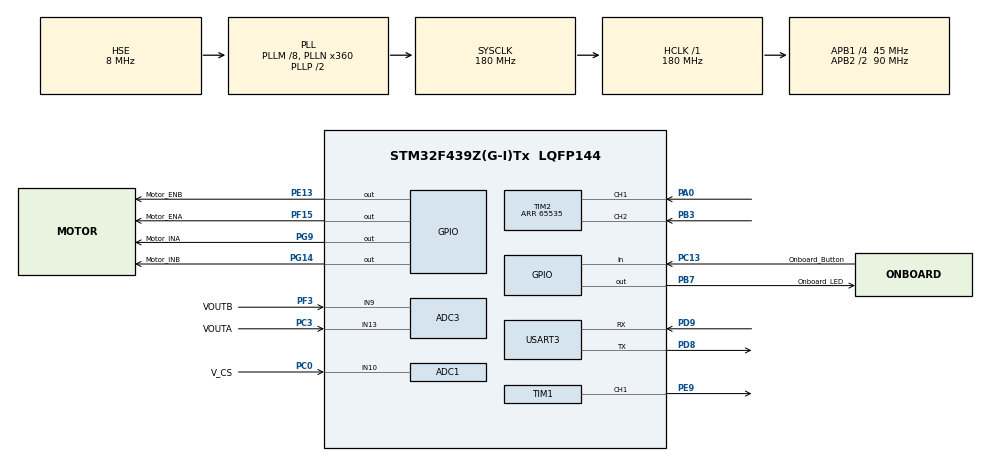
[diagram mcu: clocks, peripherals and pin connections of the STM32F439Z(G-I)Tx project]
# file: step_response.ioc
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ADC1.Channel-2\#ChannelRegularConversion=ADC_CHANNEL_10
ADC1.ContinuousConvMode=ENABLE
ADC1.DMAContinuousRequests=ENABLE
ADC1.ExternalTrigConv=ADC_EXTERNALTRIGCONV_T3_TRGO
ADC1.NbrOfConversion=1
ADC1.NbrOfConversionFlag=1
ADC1.Rank-2\#ChannelRegularConversion=1
ADC1.SamplingTime-2\#ChannelRegularConversion=ADC_SAMPLETIME_84CYCLES
ADC1.ScanConvMode=ENABLE
ADC1.master=1
ADC3.Channel-0\#ChannelRegularConversion=ADC_CHANNEL_13
ADC3.Channel-1\#ChannelRegularConversion=ADC_CHANNEL_9
ADC3.ContinuousConvMode=ENABLE
ADC3.DMAContinuousRequests=ENABLE
ADC3.ExternalTrigConv=ADC_EXTERNALTRIGCONV_T3_TRGO
ADC3.NbrOfConversion=2
ADC3.NbrOfConversionFlag=1
ADC3.Rank-0\#ChannelRegularConversion=1
ADC3.Rank-1\#ChannelRegularConversion=2
ADC3.SamplingTime-0\#ChannelRegularConversion=ADC_SAMPLETIME_84CYCLES
ADC3.SamplingTime-1\#ChannelRegularConversion=ADC_SAMPLETIME_84CYCLES
ADC3.ScanConvMode=ENABLE
Dma.ADC1.0.Direction=DMA_PERIPH_TO_MEMORY
Dma.ADC1.0.FIFOMode=DMA_FIFOMODE_DISABLE
Dma.ADC1.0.Instance=DMA2_Stream0
Dma.ADC1.0.MemDataAlignment=DMA_MDATAALIGN_WORD
Dma.ADC1.0.MemInc=DMA_MINC_ENABLE
Dma.ADC1.0.Mode=DMA_CIRCULAR
Dma.ADC1.0.PeriphDataAlignment=DMA_PDATAALIGN_WORD
Dma.ADC1.0.PeriphInc=DMA_PINC_DISABLE
Dma.ADC1.0.Priority=DMA_PRIORITY_LOW
Dma.ADC3.1.Direction=DMA_PERIPH_TO_MEMORY
Dma.ADC3.1.FIFOMode=DMA_FIFOMODE_DISABLE
Dma.ADC3.1.Instance=DMA2_Stream1
Dma.ADC3.1.MemDataAlignment=DMA_MDATAALIGN_WORD
Dma.ADC3.1.MemInc=DMA_MINC_ENABLE
Dma.ADC3.1.Mode=DMA_CIRCULAR
Dma.ADC3.1.PeriphDataAlignment=DMA_PDATAALIGN_WORD
Dma.ADC3.1.PeriphInc=DMA_PINC_DISABLE
Dma.ADC3.1.Priority=DMA_PRIORITY_LOW
Dma.Request0=ADC1
Dma.Request1=ADC3
Mcu.Family=STM32F4
Mcu.Name=STM32F439Z(G-I)Tx
Mcu.Package=LQFP144
NVIC.DMA2_Stream0_IRQn=true\:1\:0\:true\:false\:true\:false\:true\:true
NVIC.DMA2_Stream1_IRQn=true\:0\:0\:false\:false\:true\:false\:true\:true
NVIC.PriorityGroup=NVIC_PRIORITYGROUP_4
NVIC.TIM3_IRQn=true\:0\:0\:false\:false\:true\:true\:true\:true
PA0/WKUP.Signal=S_TIM2_CH1_ETR
PB3.Signal=S_TIM2_CH2
PB7.GPIO_Label=Onboard_LED
PB7.Signal=GPIO_Output
PC0.GPIO_Label=V_CS
PC0.Signal=ADCx_IN10
PC13.GPIO_Label=Onboard_Button
PC13.GPIO_PuPd=GPIO_NOPULL
PC13.Signal=GPIO_Input
PC3.GPIO_Label=VOUTA
PC3.Signal=ADCx_IN13
PD8.Mode=Asynchronous
PD8.Signal=USART3_TX
PD9.Mode=Asynchronous
PD9.Signal=USART3_RX
PE13.GPIO_Label=Motor_ENB
PE13.GPIO_ModeDefaultOutputPP=GPIO_MODE_OUTPUT_OD
PE13.GPIO_PuPd=GPIO_NOPULL
PE13.Signal=GPIO_Output
PE9.Signal=S_TIM1_CH1
PF15.GPIO_Label=Motor_ENA
PF15.GPIO_ModeDefaultOutputPP=GPIO_MODE_OUTPUT_OD
PF15.GPIO_PuPd=GPIO_NOPULL
PF15.Signal=GPIO_Output
PF3.GPIO_Label=VOUTB
PF3.Mode=IN9
PF3.Signal=ADC3_IN9
PG14.GPIO_Label=Motor_INB
PG14.Signal=GPIO_Output
PG9.GPIO_Label=Motor_INA
PG9.Signal=GPIO_Output
PH0/OSC_IN.Mode=HSE-External-Oscillator
PH0/OSC_IN.Signal=RCC_OSC_IN
PH1/OSC_OUT.Mode=HSE-External-Oscillator
PH1/OSC_OUT.Signal=RCC_OSC_OUT
ProjectManager.HeapSize=0x200
ProjectManager.StackSize=0x400
ProjectManager.TargetToolchain=CMake
RCC.48MHZClocksFreq_Value=90000000
RCC.AHBFreq_Value=180000000
RCC.APB1CLKDivider=RCC_HCLK_DIV4
RCC.APB1Freq_Value=45000000
RCC.APB1TimFreq_Value=90000000
RCC.APB2CLKDivider=RCC_HCLK_DIV2
RCC.APB2Freq_Value=90000000
RCC.APB2TimFreq_Value=180000000
RCC.CortexFreq_Value=180000000
RCC.HCLKFreq_Value=180000000
RCC.HSE_VALUE=8000000
RCC.HSI_VALUE=16000000
RCC.LSE_VALUE=32768
RCC.PLLM=8
RCC.PLLN=360
RCC.PLLSourceVirtual=RCC_PLLSOURCE_HSE
RCC.SYSCLKFreq_VALUE=180000000
RCC.SYSCLKSource=RCC_SYSCLKSOURCE_PLLCLK
RCC.VCOOutputFreq_Value=360000000
SH.ADCx_IN10.0=ADC1_IN10,IN10
SH.ADCx_IN13.0=ADC3_IN13,IN13
SH.S_TIM1_CH1.0=TIM1_CH1,PWM Generation1 CH1
SH.S_TIM2_CH1_ETR.0=TIM2_CH1,Encoder_Interface
SH.S_TIM2_CH2.0=TIM2_CH2,Encoder_Interface
TIM1.Channel-PWM\ Generation1\ CH1=TIM_CHANNEL_1
TIM1.Period=999
TIM1.Prescaler=8
TIM2.EncoderMode=TIM_ENCODERMODE_TI12
TIM2.Period=65535
TIM3.Period=49
TIM3.Prescaler=179
TIM3.TIM_MasterOutputTrigger=TIM_TRGO_UPDATE
USART3.VirtualMode=VM_ASYNC
VP_TIM3_VS_ClockSourceINT.Mode=Internal
board=custom

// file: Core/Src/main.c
/* USER CODE BEGIN Header */
/**
 ******************************************************************************
 * @file           : main.c
 * @brief          : Main program body
 ******************************************************************************
 * @attention
 *
 * Copyright (c) 2025 STMicroelectronics.
 * All rights reserved.
 *
 * This software is licensed under terms that can be found in the LICENSE file
 * in the root directory of this software component.
 * If no LICENSE file comes with this software, it is provided AS-IS.
 *
 ******************************************************************************
 */
/* USER CODE END Header */
#include "main.h"

/* USER CODE BEGIN Includes */
#include <stdbool.h>
#include <stdint.h>
#include <stdio.h>
#include <string.h>
#include <math.h>
/* USER CODE END Includes */

/* USER CODE BEGIN PTD */

#define ADC1_CHANNELS 1
#define ADC3_CHANNELS 2
#define SAMPLE_COUNT 2000 // How many samples to collect

enum ExptType
{
    STEP_RESPONSE,
    RAMP_RESPONSE
};

typedef struct
{
    uint32_t sample_idx;  // Sample index into logger arrays
    uint32_t loop_count;  // How many times we've actually sampled at 10 kHz
    uint16_t sample_rate; // loop_counts per sample_idx
    uint16_t pwm_duty[SAMPLE_COUNT];
    int32_t v_motor_mv[SAMPLE_COUNT];
    uint16_t i_motor_ma[SAMPLE_COUNT];
    int32_t pos_mdeg[SAMPLE_COUNT];
} log_data_t;

typedef union
{
    uint32_t buffer[ADC1_CHANNELS];
    struct
    {
        uint32_t cs_raw;
    } channels;
} adc1_data_t;

typedef union
{
    uint32_t buffer[ADC3_CHANNELS];
    struct
    {
        uint32_t vout_a_raw;
        uint32_t vout_b_raw;
    } channels;
} adc3_data_t;

typedef struct
{
    int32_t cur_count;  // Current encoder position count
    int32_t prev_count; // Temporary value used to calculate updates
    float pos_deg;      // Integrated position [deg]
} enc_data_t;

/* USER CODE END PTD */

/* USER CODE BEGIN PD */

#define PWM_COUNT 1000
#define ENC_COUNT 65536

#define ADC_TO_VOLTS (3.3f / 4095.0f)          // Convert ADC counts to voltage
#define CS_V_PER_AMP (0.14f)                   // VNH5019 spec: 0.14 V/A
#define CS_SCALE (ADC_TO_VOLTS / CS_V_PER_AMP) // ADC counts to amperage
#define ENC_CPR 48                             // Counts per motor revolution (datasheet)
#define GEAR_RATIO 46.8512f                    // 47:1 gearbox
#define DEG_PER_COUNT (360.0f / (ENC_CPR * GEAR_RATIO))

#define ENC_VOUT_R1 (47.0f) // First leg of voltage divider
#define ENC_VOUT_R2 (15.0f) // Second leg of voltage divider
#define ENC_VOUT_SCALE ((3.3f / 4095.0f) * (ENC_VOUT_R1 + ENC_VOUT_R2) / ENC_VOUT_R2)

/* USER CODE END PD */

ADC_HandleTypeDef hadc1;
ADC_HandleTypeDef hadc3;
DMA_HandleTypeDef hdma_adc1;
DMA_HandleTypeDef hdma_adc3;

TIM_HandleTypeDef htim1;
TIM_HandleTypeDef htim2;
TIM_HandleTypeDef htim3;

UART_HandleTypeDef huart3;

/* USER CODE BEGIN PV */
// enum ExptType expt_type = STEP_RESPONSE;
enum ExptType expt_type = RAMP_RESPONSE;

volatile bool sample_flag = false;
volatile adc1_data_t adc1_data;
volatile adc3_data_t adc3_data;

uint16_t pwm_duty = 0;
enc_data_t enc_data = {ENC_COUNT / 2, ENC_COUNT / 2, 0.0f};
log_data_t log_data = {0};
/* USER CODE END PV */

void SystemClock_Config(void);
static void MX_GPIO_Init(void);
static void MX_DMA_Init(void);
static void MX_ADC1_Init(void);
static void MX_TIM3_Init(void);
static void MX_USART3_UART_Init(void);
static void MX_TIM1_Init(void);
static void MX_TIM2_Init(void);
static void MX_ADC3_Init(void);

int main(void)
{

    /* MCU Configuration--------------------------------------------------------*/

    /* Reset of all peripherals, Initializes the Flash interface and the Systick. */
    HAL_Init();

    /* Configure the system clock */
    SystemClock_Config();

    /* Initialize all configured peripherals */
    MX_GPIO_Init();
    MX_DMA_Init();
    MX_ADC1_Init();
    MX_TIM3_Init();
    MX_USART3_UART_Init();
    MX_TIM1_Init();
    MX_TIM2_Init();
    MX_ADC3_Init();
    /* USER CODE BEGIN 2 */

    // Start PWM output
    if (HAL_TIM_PWM_Start(&htim1, TIM_CHANNEL_1) != HAL_OK)
        Error_Handler();

    // Start ADC with DMA in circular mode
    if (HAL_ADC_Start_DMA(&hadc1, (uint32_t *)adc1_data.buffer, ADC1_CHANNELS) != HAL_OK)
        Error_Handler();
    if (HAL_ADC_Start_DMA(&hadc3, (uint32_t *)adc3_data.buffer, ADC3_CHANNELS) != HAL_OK)
        Error_Handler();

    // Configure motor direction forward (ccw)
    motor_fwd();

    // Enable motor driver
    HAL_GPIO_WritePin(Motor_ENA_GPIO_Port, Motor_ENA_Pin, GPIO_PIN_SET); // ENA/DIAGA = HIGH (enable)
    HAL_GPIO_WritePin(Motor_ENB_GPIO_Port, Motor_ENB_Pin, GPIO_PIN_SET); // ENB/DIAGB = HIGH (enable)

    // Start encoder timer
    if (HAL_TIM_Encoder_Start(&htim2, TIM_CHANNEL_ALL) != HAL_OK)
        Error_Handler();

    // Reset encoder counter to middle value
    __HAL_TIM_SET_COUNTER(&htim2, enc_data.cur_count);

    // Start control timer
    if (HAL_TIM_Base_Start_IT(&htim3) != HAL_OK)
        Error_Handler();

    /* USER CODE END 2 */

    /* Infinite loop */
    /* USER CODE BEGIN WHILE */

    HAL_GPIO_WritePin(Onboard_LED_GPIO_Port, Onboard_LED_Pin, GPIO_PIN_SET);
    HAL_Delay(1000); // Wait 1 s for everything to come online
    HAL_GPIO_WritePin(Onboard_LED_GPIO_Port, Onboard_LED_Pin, GPIO_PIN_RESET);

    // Wait for the USER button to be pressed
    while (1)
    {
        if (HAL_GPIO_ReadPin(Onboard_Button_GPIO_Port, Onboard_Button_Pin))
            break; // Continue on to main control loop
        HAL_Delay(1);
    }
    // Turn on blue LED to indicate start of test
    HAL_GPIO_WritePin(Onboard_LED_GPIO_Port, Onboard_LED_Pin, GPIO_PIN_SET);

    /* STEP RESPONSE */
    uint32_t next_incr = 0; // Loop count to increment duty cycle

    switch (expt_type)
    {
    case STEP_RESPONSE:
        log_data.sample_rate = 1; // Sample at 10 kHz (200 ms total)
        pwm_duty = PWM_COUNT / 2; // 50% duty cycle
        break;
    case RAMP_RESPONSE:
        log_data.sample_rate = 100; // Sample at 100 Hz (20s total)
        pwm_duty = 0;               // Start at 0% duty cycle
        break;
    }

    // Reset indices
    log_data.sample_idx = 0;
    log_data.loop_count = 0; // Number of 10 kHz updates per sample
    sample_flag = false;
    motor_set();

    while (1)
    {
        if (log_data.sample_idx >= SAMPLE_COUNT)
            break;
        /* USER CODE END WHILE */

        /* USER CODE BEGIN 3 */

        switch (expt_type)
        {
        case RAMP_RESPONSE:
            // Increase PWM duty cycle by 5% every 500 ms up to 100%, then
            // ramp back down
            if (log_data.loop_count >= next_incr)
            {
                if (log_data.sample_idx < SAMPLE_COUNT / 2)
                    pwm_duty += PWM_COUNT / 20;
                else
                    pwm_duty -= PWM_COUNT / 20;

                next_incr += log_data.sample_rate * (SAMPLE_COUNT / 40);
                motor_set();
            }
            break;
        default:
            break;
        }

        if (sample_flag)
            sample_callback();
    }

    pwm_duty = 0; // Turn OFF motor
    motor_set();
    send_data();
    HAL_GPIO_WritePin(Onboard_LED_GPIO_Port, Onboard_LED_Pin, GPIO_PIN_RESET);

    return 0;

    /* USER CODE END 3 */
}

void SystemClock_Config(void)
{
    RCC_OscInitTypeDef RCC_OscInitStruct = {0};
    RCC_ClkInitTypeDef RCC_ClkInitStruct = {0};

    /** Configure the main internal regulator output voltage
     */
    __HAL_RCC_PWR_CLK_ENABLE();
    __HAL_PWR_VOLTAGESCALING_CONFIG(PWR_REGULATOR_VOLTAGE_SCALE1);

    /** Initializes the RCC Oscillators according to the specified parameters
     * in the RCC_OscInitTypeDef structure.
     */
    RCC_OscInitStruct.OscillatorType = RCC_OSCILLATORTYPE_HSE;
    RCC_OscInitStruct.HSEState = RCC_HSE_ON;
    RCC_OscInitStruct.PLL.PLLState = RCC_PLL_ON;
    RCC_OscInitStruct.PLL.PLLSource = RCC_PLLSOURCE_HSE;
    RCC_OscInitStruct.PLL.PLLM = 8;
    RCC_OscInitStruct.PLL.PLLN = 360;
    RCC_OscInitStruct.PLL.PLLP = RCC_PLLP_DIV2;
    RCC_OscInitStruct.PLL.PLLQ = 4;
    if (HAL_RCC_OscConfig(&RCC_OscInitStruct) != HAL_OK)
    {
        Error_Handler();
    }

    /** Activate the Over-Drive mode
     */
    if (HAL_PWREx_EnableOverDrive() != HAL_OK)
    {
        Error_Handler();
    }

    /** Initializes the CPU, AHB and APB buses clocks
     */
    RCC_ClkInitStruct.ClockType = RCC_CLOCKTYPE_HCLK | RCC_CLOCKTYPE_SYSCLK | RCC_CLOCKTYPE_PCLK1 | RCC_CLOCKTYPE_PCLK2;
    RCC_ClkInitStruct.SYSCLKSource = RCC_SYSCLKSOURCE_PLLCLK;
    RCC_ClkInitStruct.AHBCLKDivider = RCC_SYSCLK_DIV1;
    RCC_ClkInitStruct.APB1CLKDivider = RCC_HCLK_DIV4;
    RCC_ClkInitStruct.APB2CLKDivider = RCC_HCLK_DIV2;

    if (HAL_RCC_ClockConfig(&RCC_ClkInitStruct, FLASH_LATENCY_5) != HAL_OK)
    {
        Error_Handler();
    }
}

static void MX_ADC1_Init(void)
{

    ADC_ChannelConfTypeDef sConfig = {0};

    /** Configure the global features of the ADC (Clock, Resolution, Data Alignment and number of conversion)
     */
    hadc1.Instance = ADC1;
    hadc1.Init.ClockPrescaler = ADC_CLOCK_SYNC_PCLK_DIV4;
    hadc1.Init.Resolution = ADC_RESOLUTION_12B;
    hadc1.Init.ScanConvMode = ENABLE;
    hadc1.Init.ContinuousConvMode = ENABLE;
    hadc1.Init.DiscontinuousConvMode = DISABLE;
    hadc1.Init.ExternalTrigConvEdge = ADC_EXTERNALTRIGCONVEDGE_RISING;
    hadc1.Init.ExternalTrigConv = ADC_EXTERNALTRIGCONV_T3_TRGO;
    hadc1.Init.DataAlign = ADC_DATAALIGN_RIGHT;
    hadc1.Init.NbrOfConversion = 1;
    hadc1.Init.DMAContinuousRequests = ENABLE;
    hadc1.Init.EOCSelection = ADC_EOC_SINGLE_CONV;
    if (HAL_ADC_Init(&hadc1) != HAL_OK)
    {
        Error_Handler();
    }

    /** Configure for the selected ADC regular channel its corresponding rank in the sequencer and its sample time.
     */
    sConfig.Channel = ADC_CHANNEL_10;
    sConfig.Rank = 1;
    sConfig.SamplingTime = ADC_SAMPLETIME_84CYCLES;
    if (HAL_ADC_ConfigChannel(&hadc1, &sConfig) != HAL_OK)
    {
        Error_Handler();
    }
}

static void MX_ADC3_Init(void)
{

    ADC_ChannelConfTypeDef sConfig = {0};

    /** Configure the global features of the ADC (Clock, Resolution, Data Alignment and number of conversion)
     */
    hadc3.Instance = ADC3;
    hadc3.Init.ClockPrescaler = ADC_CLOCK_SYNC_PCLK_DIV4;
    hadc3.Init.Resolution = ADC_RESOLUTION_12B;
    hadc3.Init.ScanConvMode = ENABLE;
    hadc3.Init.ContinuousConvMode = ENABLE;
    hadc3.Init.DiscontinuousConvMode = DISABLE;
    hadc3.Init.ExternalTrigConvEdge = ADC_EXTERNALTRIGCONVEDGE_RISING;
    hadc3.Init.ExternalTrigConv = ADC_EXTERNALTRIGCONV_T3_TRGO;
    hadc3.Init.DataAlign = ADC_DATAALIGN_RIGHT;
    hadc3.Init.NbrOfConversion = 2;
    hadc3.Init.DMAContinuousRequests = ENABLE;
    hadc3.Init.EOCSelection = ADC_EOC_SINGLE_CONV;
    if (HAL_ADC_Init(&hadc3) != HAL_OK)
    {
        Error_Handler();
    }

    /** Configure for the selected ADC regular channel its corresponding rank in the sequencer and its sample time.
     */
    sConfig.Channel = ADC_CHANNEL_13;
    sConfig.Rank = 1;
    sConfig.SamplingTime = ADC_SAMPLETIME_84CYCLES;
    if (HAL_ADC_ConfigChannel(&hadc3, &sConfig) != HAL_OK)
    {
        Error_Handler();
    }

    /** Configure for the selected ADC regular channel its corresponding rank in the sequencer and its sample time.
     */
    sConfig.Channel = ADC_CHANNEL_9;
    sConfig.Rank = 2;
    if (HAL_ADC_ConfigChannel(&hadc3, &sConfig) != HAL_OK)
    {
        Error_Handler();
    }
}

static void MX_TIM1_Init(void)
{

    TIM_MasterConfigTypeDef sMasterConfig = {0};
    TIM_OC_InitTypeDef sConfigOC = {0};
    TIM_BreakDeadTimeConfigTypeDef sBreakDeadTimeConfig = {0};

    htim1.Instance = TIM1;
    htim1.Init.Prescaler = 8;
    htim1.Init.CounterMode = TIM_COUNTERMODE_UP;
    htim1.Init.Period = 999;
    htim1.Init.ClockDivision = TIM_CLOCKDIVISION_DIV1;
    htim1.Init.RepetitionCounter = 0;
    htim1.Init.AutoReloadPreload = TIM_AUTORELOAD_PRELOAD_DISABLE;
    if (HAL_TIM_PWM_Init(&htim1) != HAL_OK)
    {
        Error_Handler();
    }
    sMasterConfig.MasterOutputTrigger = TIM_TRGO_RESET;
    sMasterConfig.MasterSlaveMode = TIM_MASTERSLAVEMODE_DISABLE;
    if (HAL_TIMEx_MasterConfigSynchronization(&htim1, &sMasterConfig) != HAL_OK)
    {
        Error_Handler();
    }
    sConfigOC.OCMode = TIM_OCMODE_PWM1;
    sConfigOC.Pulse = 0;
    sConfigOC.OCPolarity = TIM_OCPOLARITY_HIGH;
    sConfigOC.OCNPolarity = TIM_OCNPOLARITY_HIGH;
    sConfigOC.OCFastMode = TIM_OCFAST_DISABLE;
    sConfigOC.OCIdleState = TIM_OCIDLESTATE_RESET;
    sConfigOC.OCNIdleState = TIM_OCNIDLESTATE_RESET;
    if (HAL_TIM_PWM_ConfigChannel(&htim1, &sConfigOC, TIM_CHANNEL_1) != HAL_OK)
    {
        Error_Handler();
    }
    sBreakDeadTimeConfig.OffStateRunMode = TIM_OSSR_DISABLE;
    sBreakDeadTimeConfig.OffStateIDLEMode = TIM_OSSI_DISABLE;
    sBreakDeadTimeConfig.LockLevel = TIM_LOCKLEVEL_OFF;
    sBreakDeadTimeConfig.DeadTime = 0;
    sBreakDeadTimeConfig.BreakState = TIM_BREAK_DISABLE;
    sBreakDeadTimeConfig.BreakPolarity = TIM_BREAKPOLARITY_HIGH;
    sBreakDeadTimeConfig.AutomaticOutput = TIM_AUTOMATICOUTPUT_DISABLE;
    if (HAL_TIMEx_ConfigBreakDeadTime(&htim1, &sBreakDeadTimeConfig) != HAL_OK)
    {
        Error_Handler();
    }
    HAL_TIM_MspPostInit(&htim1);
}

static void MX_TIM2_Init(void)
{

    TIM_Encoder_InitTypeDef sConfig = {0};
    TIM_MasterConfigTypeDef sMasterConfig = {0};

    htim2.Instance = TIM2;
    htim2.Init.Prescaler = 0;
    htim2.Init.CounterMode = TIM_COUNTERMODE_UP;
    htim2.Init.Period = 65535;
    htim2.Init.ClockDivision = TIM_CLOCKDIVISION_DIV1;
    htim2.Init.AutoReloadPreload = TIM_AUTORELOAD_PRELOAD_DISABLE;
    sConfig.EncoderMode = TIM_ENCODERMODE_TI12;
    sConfig.IC1Polarity = TIM_ICPOLARITY_RISING;
    sConfig.IC1Selection = TIM_ICSELECTION_DIRECTTI;
    sConfig.IC1Prescaler = TIM_ICPSC_DIV1;
    sConfig.IC1Filter = 0;
    sConfig.IC2Polarity = TIM_ICPOLARITY_RISING;
    sConfig.IC2Selection = TIM_ICSELECTION_DIRECTTI;
    sConfig.IC2Prescaler = TIM_ICPSC_DIV1;
    sConfig.IC2Filter = 0;
    if (HAL_TIM_Encoder_Init(&htim2, &sConfig) != HAL_OK)
    {
        Error_Handler();
    }
    sMasterConfig.MasterOutputTrigger = TIM_TRGO_RESET;
    sMasterConfig.MasterSlaveMode = TIM_MASTERSLAVEMODE_DISABLE;
    if (HAL_TIMEx_MasterConfigSynchronization(&htim2, &sMasterConfig) != HAL_OK)
    {
        Error_Handler();
    }
}

static void MX_TIM3_Init(void)
{

    TIM_ClockConfigTypeDef sClockSourceConfig = {0};
    TIM_MasterConfigTypeDef sMasterConfig = {0};

    htim3.Instance = TIM3;
    htim3.Init.Prescaler = 179;
    htim3.Init.CounterMode = TIM_COUNTERMODE_UP;
    htim3.Init.Period = 49;
    htim3.Init.ClockDivision = TIM_CLOCKDIVISION_DIV1;
    htim3.Init.AutoReloadPreload = TIM_AUTORELOAD_PRELOAD_DISABLE;
    if (HAL_TIM_Base_Init(&htim3) != HAL_OK)
    {
        Error_Handler();
    }
    sClockSourceConfig.ClockSource = TIM_CLOCKSOURCE_INTERNAL;
    if (HAL_TIM_ConfigClockSource(&htim3, &sClockSourceConfig) != HAL_OK)
    {
        Error_Handler();
    }
    sMasterConfig.MasterOutputTrigger = TIM_TRGO_UPDATE;
    sMasterConfig.MasterSlaveMode = TIM_MASTERSLAVEMODE_DISABLE;
    if (HAL_TIMEx_MasterConfigSynchronization(&htim3, &sMasterConfig) != HAL_OK)
    {
        Error_Handler();
    }
}

static void MX_USART3_UART_Init(void)
{

    huart3.Instance = USART3;
    huart3.Init.BaudRate = 115200;
    huart3.Init.WordLength = UART_WORDLENGTH_8B;
    huart3.Init.StopBits = UART_STOPBITS_1;
    huart3.Init.Parity = UART_PARITY_NONE;
    huart3.Init.Mode = UART_MODE_TX_RX;
    huart3.Init.HwFlowCtl = UART_HWCONTROL_NONE;
    huart3.Init.OverSampling = UART_OVERSAMPLING_16;
    if (HAL_UART_Init(&huart3) != HAL_OK)
    {
        Error_Handler();
    }
}

static void MX_DMA_Init(void)
{

    /* DMA controller clock enable */
    __HAL_RCC_DMA2_CLK_ENABLE();

    /* DMA interrupt init */
    /* DMA2_Stream0_IRQn interrupt configuration */
    HAL_NVIC_SetPriority(DMA2_Stream0_IRQn, 1, 0);
    HAL_NVIC_EnableIRQ(DMA2_Stream0_IRQn);
    /* DMA2_Stream1_IRQn interrupt configuration */
    HAL_NVIC_SetPriority(DMA2_Stream1_IRQn, 0, 0);
    HAL_NVIC_EnableIRQ(DMA2_Stream1_IRQn);
}

static void MX_GPIO_Init(void)
{
    GPIO_InitTypeDef GPIO_InitStruct = {0};

    /* GPIO Ports Clock Enable */
    __HAL_RCC_GPIOC_CLK_ENABLE();
    __HAL_RCC_GPIOF_CLK_ENABLE();
    __HAL_RCC_GPIOH_CLK_ENABLE();
    __HAL_RCC_GPIOA_CLK_ENABLE();
    __HAL_RCC_GPIOE_CLK_ENABLE();
    __HAL_RCC_GPIOD_CLK_ENABLE();
    __HAL_RCC_GPIOG_CLK_ENABLE();
    __HAL_RCC_GPIOB_CLK_ENABLE();

    /*Configure GPIO pin Output Level */
    HAL_GPIO_WritePin(Motor_ENA_GPIO_Port, Motor_ENA_Pin, GPIO_PIN_RESET);

    /*Configure GPIO pin Output Level */
    HAL_GPIO_WritePin(Motor_ENB_GPIO_Port, Motor_ENB_Pin, GPIO_PIN_RESET);

    /*Configure GPIO pin Output Level */
    HAL_GPIO_WritePin(GPIOG, Motor_INA_Pin | Motor_INB_Pin, GPIO_PIN_RESET);

    /*Configure GPIO pin Output Level */
    HAL_GPIO_WritePin(Onboard_LED_GPIO_Port, Onboard_LED_Pin, GPIO_PIN_RESET);

    /*Configure GPIO pin : Onboard_Button_Pin */
    GPIO_InitStruct.Pin = Onboard_Button_Pin;
    GPIO_InitStruct.Mode = GPIO_MODE_INPUT;
    GPIO_InitStruct.Pull = GPIO_NOPULL;
    HAL_GPIO_Init(Onboard_Button_GPIO_Port, &GPIO_InitStruct);

    /*Configure GPIO pin : Motor_ENA_Pin */
    GPIO_InitStruct.Pin = Motor_ENA_Pin;
    GPIO_InitStruct.Mode = GPIO_MODE_OUTPUT_OD;
    GPIO_InitStruct.Pull = GPIO_NOPULL;
    GPIO_InitStruct.Speed = GPIO_SPEED_FREQ_LOW;
    HAL_GPIO_Init(Motor_ENA_GPIO_Port, &GPIO_InitStruct);

    /*Configure GPIO pin : Motor_ENB_Pin */
    GPIO_InitStruct.Pin = Motor_ENB_Pin;
    GPIO_InitStruct.Mode = GPIO_MODE_OUTPUT_OD;
    GPIO_InitStruct.Pull = GPIO_NOPULL;
    GPIO_InitStruct.Speed = GPIO_SPEED_FREQ_LOW;
    HAL_GPIO_Init(Motor_ENB_GPIO_Port, &GPIO_InitStruct);

    /*Configure GPIO pins : Motor_INA_Pin Motor_INB_Pin */
    GPIO_InitStruct.Pin = Motor_INA_Pin | Motor_INB_Pin;
    GPIO_InitStruct.Mode = GPIO_MODE_OUTPUT_PP;
    GPIO_InitStruct.Pull = GPIO_NOPULL;
    GPIO_InitStruct.Speed = GPIO_SPEED_FREQ_LOW;
    HAL_GPIO_Init(GPIOG, &GPIO_InitStruct);

    /*Configure GPIO pin : Onboard_LED_Pin */
    GPIO_InitStruct.Pin = Onboard_LED_Pin;
    GPIO_InitStruct.Mode = GPIO_MODE_OUTPUT_PP;
    GPIO_InitStruct.Pull = GPIO_NOPULL;
    GPIO_InitStruct.Speed = GPIO_SPEED_FREQ_LOW;
    HAL_GPIO_Init(Onboard_LED_GPIO_Port, &GPIO_InitStruct);

}

/* USER CODE BEGIN 4 */
void HAL_TIM_PeriodElapsedCallback(TIM_HandleTypeDef *htim)
{
    if (htim->Instance == TIM3)
    {
        sample_flag = true;
    }
}

void motor_set(void)
{
    __HAL_TIM_SET_COMPARE(&htim1, TIM_CHANNEL_1, pwm_duty);
}

/*
Reference:
|--INA--|--INB--|--STATE--|
|  LOW  | HIGH  | FORWARD | (CCW)
| HIGH  | HIGH  |  BRAKE  |
|  LOW  |  LOW  |  COAST  |
| HIGH  |  LOW  | REVERSE | (CW)
*/
void motor_rev(void)
{
    // Set motor direction forward (cw)
    HAL_GPIO_WritePin(Motor_INA_GPIO_Port, Motor_INA_Pin, GPIO_PIN_SET);   // INA = HIGH
    HAL_GPIO_WritePin(Motor_INB_GPIO_Port, Motor_INB_Pin, GPIO_PIN_RESET); // INB = LOW
}

void motor_fwd(void)
{
    // Set motor direction reverse (ccw)
    HAL_GPIO_WritePin(Motor_INA_GPIO_Port, Motor_INA_Pin, GPIO_PIN_RESET); // INA = LOW
    HAL_GPIO_WritePin(Motor_INB_GPIO_Port, Motor_INB_Pin, GPIO_PIN_SET);   // INB = HIGH
}

void sample_callback(void)
{
    // Read encoder and update position
    enc_data.cur_count = (int32_t)__HAL_TIM_GET_COUNTER(&htim2);

    // Handle encoder counter overflow/underflow by calculating the shortest path
    int32_t delta = enc_data.cur_count - enc_data.prev_count;
    if (delta > (ENC_COUNT / 2)) {
        delta -= ENC_COUNT;  // Wrapped backwards
    } else if (delta < -(ENC_COUNT / 2)) {
        delta += ENC_COUNT;  // Wrapped forwards
    }

    enc_data.pos_deg += (float)delta * DEG_PER_COUNT;
    enc_data.pos_deg = fmodf(enc_data.pos_deg + 360.0f, 360.0f);

    // Store for next iteration
    enc_data.prev_count = enc_data.cur_count;

    if ((log_data.loop_count % log_data.sample_rate == 0) && (log_data.sample_idx < SAMPLE_COUNT))
    {
        log_data.pwm_duty[log_data.sample_idx] = pwm_duty;
        log_data.v_motor_mv[log_data.sample_idx] = (int32_t)(((float)adc3_data.channels.vout_a_raw - (float)adc3_data.channels.vout_b_raw) * ENC_VOUT_SCALE * 1000); // millivolts
        log_data.i_motor_ma[log_data.sample_idx] = (uint16_t)(adc1_data.channels.cs_raw * CS_SCALE * 1000);                                                          // milliamps
        log_data.pos_mdeg[log_data.sample_idx] = (int32_t)(enc_data.pos_deg * 1000);                                                                                 // millidegrees
        log_data.sample_idx++;
    }

    log_data.loop_count++;
    sample_flag = false;
}

void send_data(void)
{
    char header[100];
    char buffer[200];

    snprintf(header, sizeof(header), "START,%lu,%u,%u\n",
             (uint32_t)SAMPLE_COUNT, PWM_COUNT, log_data.sample_rate);
    HAL_UART_Transmit(&huart3, (uint8_t *)header, strlen(header), HAL_MAX_DELAY);

    // Send data in chunks to avoid USB buffer overflow
    for (uint32_t i = 0; i < SAMPLE_COUNT; i++)
    {
        snprintf(buffer, sizeof(buffer), "%lu,%u,%ld,%u,%ld\n",
                 i, log_data.pwm_duty[i], log_data.v_motor_mv[i],
                 log_data.i_motor_ma[i], log_data.pos_mdeg[i]);
        HAL_UART_Transmit(&huart3, (uint8_t *)buffer, strlen(buffer), HAL_MAX_DELAY);

        // Small delay to allow USB buffer to clear
        HAL_Delay(1);
    }

    HAL_UART_Transmit(&huart3, (uint8_t *)"END\n", 4, HAL_MAX_DELAY);
}

/* USER CODE END 4 */

void Error_Handler(void)
{
    __disable_irq();
    while (1)
    {
    }
}
